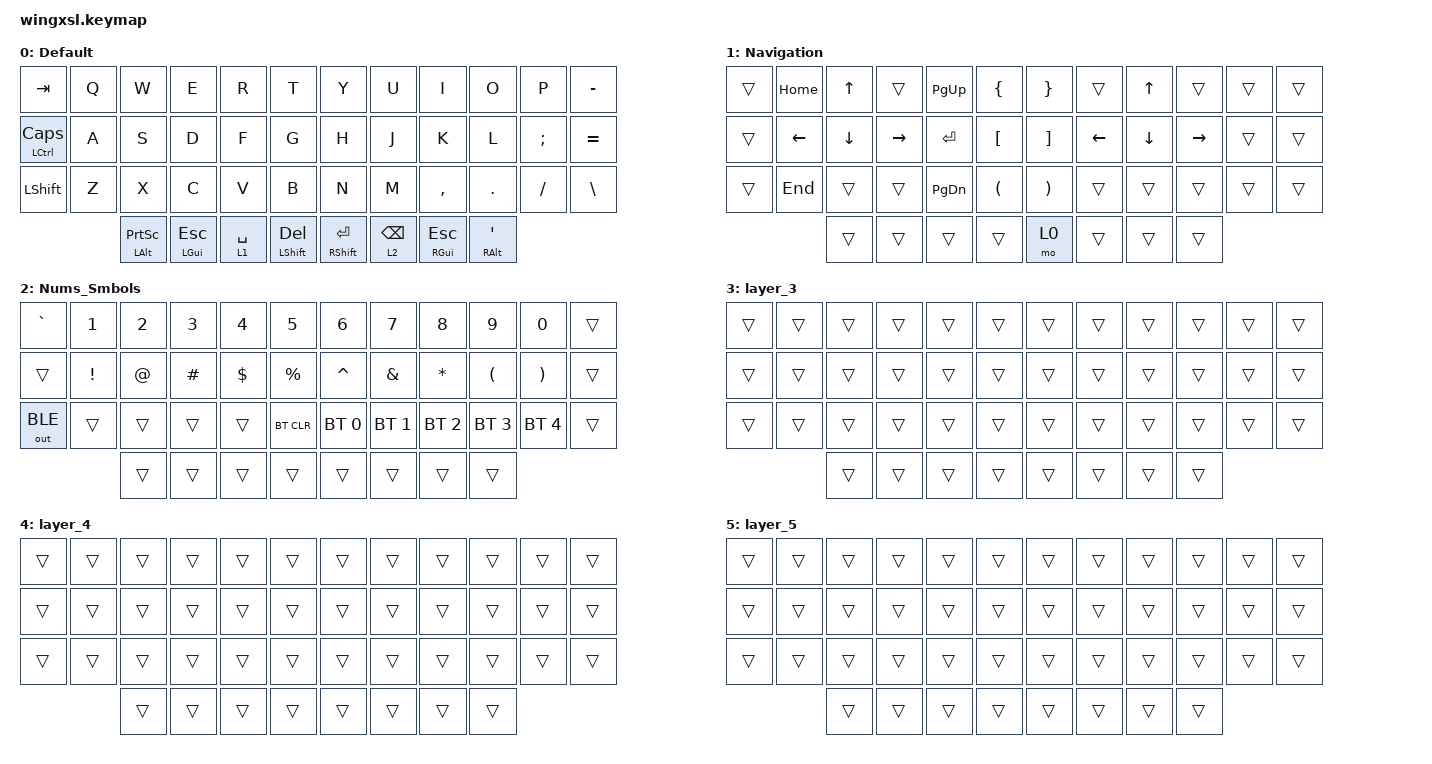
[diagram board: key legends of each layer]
/*
 * Copyright (c) 2020 The ZMK Contributors
 *
 * SPDX-License-Identifier: MIT
 */

#include <behaviors.dtsi>
#include <dt-bindings/zmk/bt.h>
#include <dt-bindings/zmk/keys.h>
#include <dt-bindings/zmk/outputs.h>

/ {
    keymap {
        compatible = "zmk,keymap";

        Default {
            bindings = <
&kp TAB             &kp Q  &kp W                     &kp E            &kp R        &kp T               &kp Y                   &kp U            &kp I              &kp O                       &kp P     &kp MINUS
&mt LCTRL CAPSLOCK  &kp A  &kp S                     &kp D            &kp F        &kp G               &kp H                   &kp J            &kp K              &kp L                       &kp SEMI  &kp EQUAL
&kp LSHIFT          &kp Z  &kp X                     &kp C            &kp V        &kp B               &kp N                   &kp M            &kp COMMA          &kp DOT                     &kp FSLH  &kp BACKSLASH
                           &mt LEFT_ALT PRINTSCREEN  &mt LGUI ESCAPE  &lt 1 SPACE  &mt LEFT_SHIFT DEL  &mt RIGHT_SHIFT RETURN  &lt 2 BACKSPACE  &mt RIGHT_GUI ESC  &mt RIGHT_ALT SINGLE_QUOTE
            >;
        };

        Navigation {
            bindings = <
&trans  &kp HOME  &kp UP_ARROW  &trans     &kp PG_UP      &kp LEFT_BRACE        &kp RIGHT_BRACE        &trans    &kp UP    &trans     &trans  &trans
&trans  &kp LEFT  &kp DOWN      &kp RIGHT  &kp ENTER      &kp LEFT_BRACKET      &kp RIGHT_BRACKET      &kp LEFT  &kp DOWN  &kp RIGHT  &trans  &trans
&trans  &kp END   &trans        &trans     &kp PAGE_DOWN  &kp LEFT_PARENTHESIS  &kp RIGHT_PARENTHESIS  &trans    &trans    &trans     &trans  &trans
                  &trans        &trans     &trans         &trans                &mo 0                  &trans    &trans    &trans
            >;
        };

        Nums_Smbols {
            bindings = <
&kp GRAVE     &kp NUMBER_1     &kp NUMBER_2  &kp NUMBER_3  &kp NUMBER_4  &kp N5       &kp NUMBER_6  &kp N7        &kp N8        &kp N9                &kp N0                 &trans
&trans        &kp EXCLAMATION  &kp AT        &kp HASH      &kp DOLLAR    &kp PERCENT  &kp CARET     &kp AMPS      &kp STAR      &kp LEFT_PARENTHESIS  &kp RIGHT_PARENTHESIS  &trans
&out OUT_BLE  &trans           &trans        &trans        &trans        &bt BT_CLR   &bt BT_SEL 0  &bt BT_SEL 1  &bt BT_SEL 2  &bt BT_SEL 3          &bt BT_SEL 4           &trans
                               &trans        &trans        &trans        &trans       &trans        &trans        &trans        &trans
            >;
        };

        layer_3 {
            bindings = <
&trans  &trans  &trans  &trans  &trans  &trans  &trans  &trans  &trans  &trans  &trans  &trans
&trans  &trans  &trans  &trans  &trans  &trans  &trans  &trans  &trans  &trans  &trans  &trans
&trans  &trans  &trans  &trans  &trans  &trans  &trans  &trans  &trans  &trans  &trans  &trans
                &trans  &trans  &trans  &trans  &trans  &trans  &trans  &trans
            >;
        };

        layer_4 {
            bindings = <
&trans  &trans  &trans  &trans  &trans  &trans  &trans  &trans  &trans  &trans  &trans  &trans
&trans  &trans  &trans  &trans  &trans  &trans  &trans  &trans  &trans  &trans  &trans  &trans
&trans  &trans  &trans  &trans  &trans  &trans  &trans  &trans  &trans  &trans  &trans  &trans
                &trans  &trans  &trans  &trans  &trans  &trans  &trans  &trans
            >;
        };

        layer_5 {
            bindings = <
&trans  &trans  &trans  &trans  &trans  &trans  &trans  &trans  &trans  &trans  &trans  &trans
&trans  &trans  &trans  &trans  &trans  &trans  &trans  &trans  &trans  &trans  &trans  &trans
&trans  &trans  &trans  &trans  &trans  &trans  &trans  &trans  &trans  &trans  &trans  &trans
                &trans  &trans  &trans  &trans  &trans  &trans  &trans  &trans
            >;
        };
    };
};
